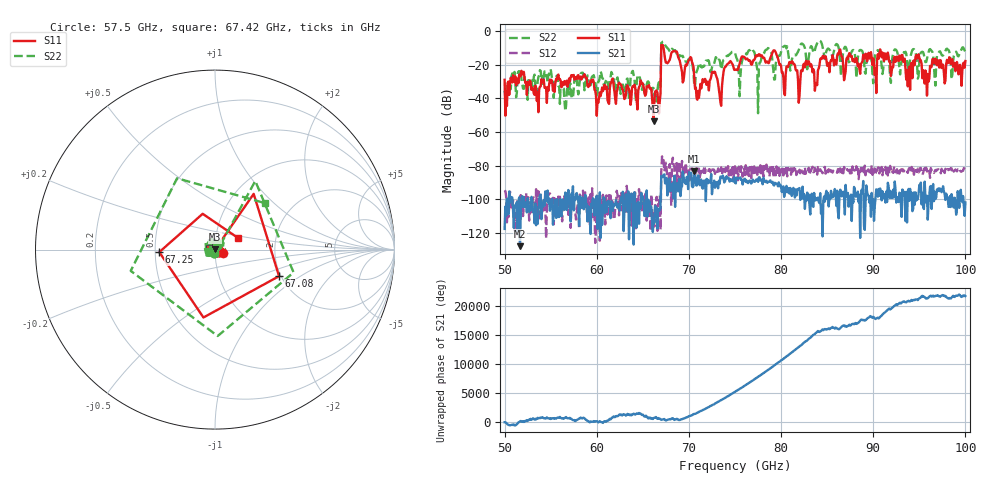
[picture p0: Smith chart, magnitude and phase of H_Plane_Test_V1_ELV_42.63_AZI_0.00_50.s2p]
! 11/27/2026 8:35:06 AM
! C:\ANRITSUVNA\TEMP\TEMP.S2P
! CHANNEL.1
! TR.MEASUREMENT
! RAW.DATA
# HZ S RI R 50.0
! FREQ.HZ  S11RE  S11IM  S21RE  S21IM  S12RE  S12IM  S22RE  S22IM
!; PortSelection: Port_12
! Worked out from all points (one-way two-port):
!   601 points, 50 GHz to 100 GHz, reference 50 ohm
!   highest |S21| = -83.20 dB at 70.58 GHz (marker M1); lowest = -128.0 dB at 51.67 GHz (marker M2)
!   lowest |S11| = -53.7 dB at 66.17 GHz (marker M3), VSWR 1.00, Z = 50.1 + j0.153 ohm
!   |S11| at or under -10 dB: start of sweep to 67 GHz; 67.24 GHz to end of sweep
!   |S22| runs from -48.9 to -5.6 dB; largest |S21 - S12| = 0.00019
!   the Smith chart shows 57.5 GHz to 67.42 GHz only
!   S11 on the Smith chart (normalised r, x): 57.5 GHz: 1.09, -0.05; 67.08 GHz: 1.95, -0.68; 67.25 GHz: 0.53, -0.02; 67.42 GHz: 1.29, +0.17
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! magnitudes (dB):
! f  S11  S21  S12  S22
! 50 GHz  -29.0  -117.7  -95.7  -35.3
! 51.67 GHz  -26.2  -128.0  -103.5  -23.1
! 53.42 GHz  -34.7  -115.5  -94.0  -34.8
! 57.5 GHz  -26.1  -106.7  -100.4  -34.5
! 58.42 GHz  -27.1  -99.0  -105.0  -24.8
! 60.17 GHz  -42.7  -101.5  -99.2  -30.1
! 66.17 GHz  -53.7  -111.1  -108.7  -34.0
! 66.67 GHz  -41.8  -105.7  -102.9  -31.6
! 67.08 GHz  -8.3  -86.8  -74.6  -6.8
! 67.25 GHz  -10.2  -85.6  -76.7  -6.3
! 67.42 GHz  -16.8  -90.6  -80.3  -8.4
! 70.58 GHz  -27.8  -83.2  -82.6  -32.9
! 73.42 GHz  -42.4  -86.6  -83.5  -19.8
! 75 GHz  -23.1  -90.2  -80.4  -13.0
! 77.58 GHz  -13.8  -87.0  -82.7  -21.7
! 78.5 GHz  -18.2  -90.3  -84.6  -10.8
! 79.33 GHz  -11.7  -90.3  -82.0  -28.8
! 80.25 GHz  -27.9  -92.4  -85.9  -9.4
! 83.42 GHz  -24.6  -103.2  -80.7  -10.8
! 91.67 GHz  -16.6  -92.2  -81.5  -15.2
! 95.83 GHz  -38.4  -98.0  -83.6  -16.4
! 100 GHz  -17.8  -102.0  -82.7  -12.5
